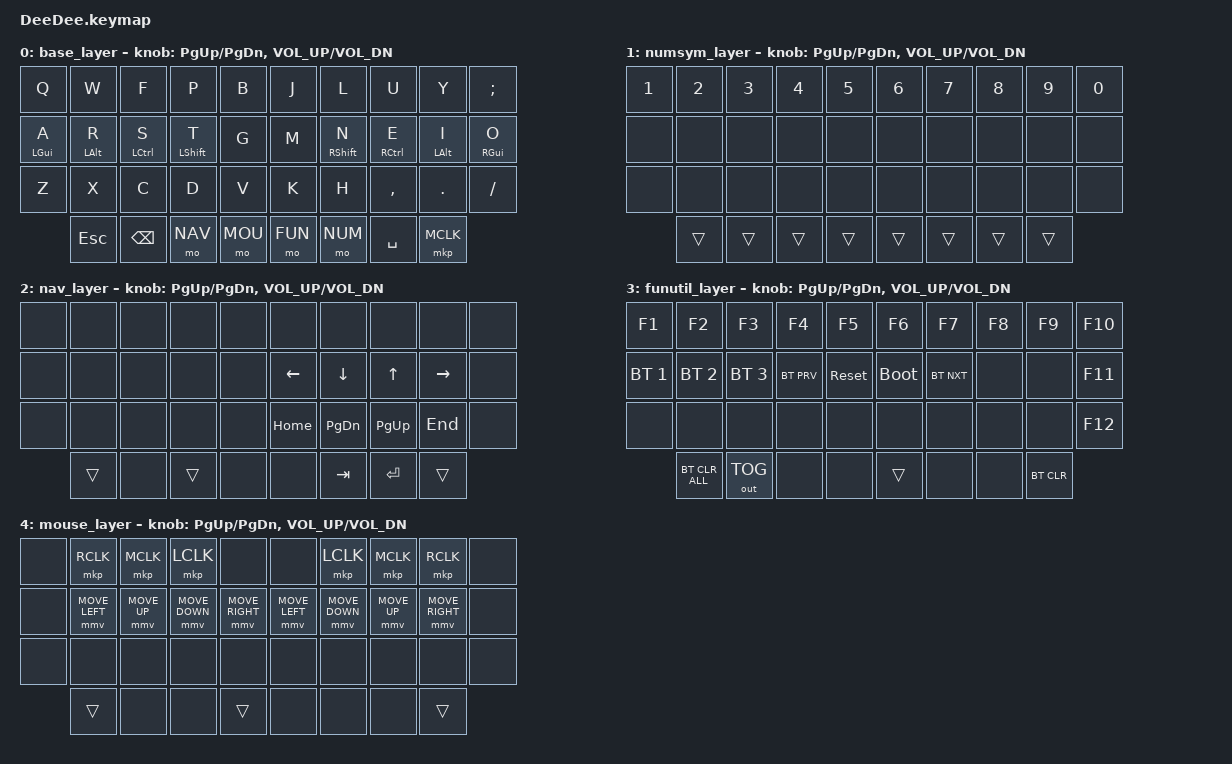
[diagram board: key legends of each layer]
#include <behaviors.dtsi>
#include <dt-bindings/zmk/keys.h>
#include <dt-bindings/zmk/bt.h>
#include <dt-bindings/zmk/outputs.h>
#include <dt-bindings/zmk/pointing.h>
#include <dt-bindings/zmk/rgb.h>

#define BASE 0
#define NUM  1
#define NAV  2
#define FUN  3
#define MOU  4

&mt {
    flavor = "tap-preferred";
    tapping-term-ms = <285>;
    quick-tap-ms = <200>;
    require-prior-idle-ms = <50>;
};

/ {
    keymap {
        compatible = "zmk,keymap";

        base_layer {
            /* Encoder bindings:
             * encoder_left  → Page Up / Page Down
             * encoder_right → Volume Up / Volume Down
             */
            sensor-bindings = <
                &inc_dec_kp PG_UP PG_DN
                &inc_dec_kp C_VOL_UP C_VOL_DN
            >;

            bindings = <
                &kp Q      &kp W      &kp F       &kp P       &kp B    &kp J   &kp L       &kp U       &kp Y      &kp SEMI
                &mt LGUI A &mt LALT R &mt LCTRL S &mt LSHFT T &kp G    &kp M   &mt RSHFT N &mt RCTRL E &mt LALT I &mt RGUI O
                &kp Z      &kp X      &kp C       &kp D       &kp V    &kp K   &kp H       &kp COMMA   &kp DOT    &kp FSLH
                           &kp ESC    &kp BSPC    &mo NAV     &mo MOU  &mo FUN &mo NUM     &kp SPACE   &mkp MCLK
            >;
        };

        numsym_layer {
            sensor-bindings = <
                &inc_dec_kp PG_UP PG_DN
                &inc_dec_kp C_VOL_UP C_VOL_DN
            >;
            bindings = <
                &kp N1 &kp N2 &kp N3 &kp N4 &kp N5 &kp N6 &kp N7 &kp N8 &kp N9 &kp N0
                &none &none &none &none &none &none &none &none &none &none
                &none &none &none &none &none &none &none &none &none &none
                       &trans &trans &trans &trans &trans &trans &trans &trans
            >;
        };

        nav_layer {
            sensor-bindings = <
                &inc_dec_kp PG_UP PG_DN
                &inc_dec_kp C_VOL_UP C_VOL_DN
            >;
            bindings = <
                &none &none &none &none &none &none &none &none &none &none
                &none &none &none &none &none &kp LEFT &kp DOWN &kp UP &kp RIGHT &none
                &none &none &none &none &none &kp HOME &kp PG_DN &kp PG_UP &kp END &none
                       &trans &none &trans &none &none &kp TAB &kp RET &trans
            >;
        };

        funutil_layer {
            sensor-bindings = <
                &inc_dec_kp PG_UP PG_DN
                &inc_dec_kp C_VOL_UP C_VOL_DN
            >;
            bindings = <
                &kp F1 &kp F2 &kp F3 &kp F4 &kp F5 &kp F6 &kp F7 &kp F8 &kp F9 &kp F10
                &bt BT_SEL 1 &bt BT_SEL 2 &bt BT_SEL 3 &bt BT_PRV &sys_reset &bootloader &bt BT_NXT &none &none &kp F11
                &none &none &none &none &none &none &none &none &none &kp F12
                       &bt BT_CLR_ALL &out OUT_TOG &none &none &trans &none &none &bt BT_CLR
            >;
        };

        mouse_layer {
            /* STILL volume on encoder, NOT scroll */
            sensor-bindings = <
                &inc_dec_kp PG_UP PG_DN
                &inc_dec_kp C_VOL_UP C_VOL_DN
            >;
            bindings = <
                &none &mkp RCLK &mkp MCLK &mkp LCLK &none &none &mkp LCLK &mkp MCLK &mkp RCLK &none
                &none &mmv MOVE_LEFT &mmv MOVE_UP &mmv MOVE_DOWN &mmv MOVE_RIGHT &mmv MOVE_LEFT &mmv MOVE_DOWN &mmv MOVE_UP &mmv MOVE_RIGHT &none
                &none &none &none &none &none &none &none &none &none &none
                       &trans &none &none &trans &none &none &none &trans
            >;
        };
    };
};
